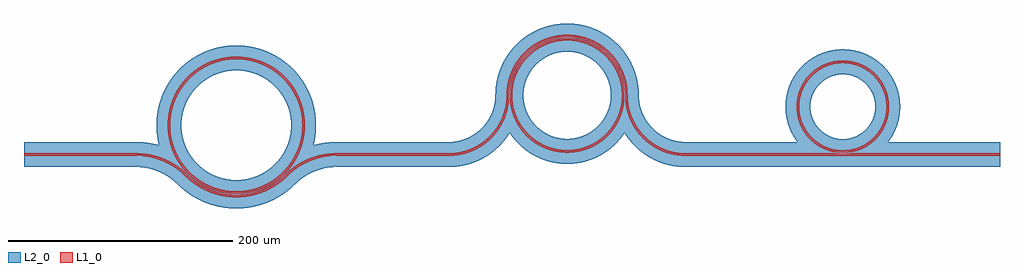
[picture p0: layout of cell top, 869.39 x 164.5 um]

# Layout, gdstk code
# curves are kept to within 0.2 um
import gdstk
lib = gdstk.Library(unit=1e-6, precision=1e-09)
def R(c, l, rs):  # rectangles x0, y0, x1, y1
    for r in rs: c.add(gdstk.rectangle(r[:2], r[2:], *l))
def P(c, l, *ps):  # polygons
    for p in ps: c.add(gdstk.Polygon(p, *l))
L1_0 = (1, 0)
L2_0 = (2, 0)

waveguide__ffb1ae14_adf3 = lib.new_cell('Waveguide--ffb1ae14-adf3-45a0-9c1a-6081403c9a0a')
R(waveguide__ffb1ae14_adf3, L1_0, [(0,-1,50,1), (50,-1,100,1)])
R(waveguide__ffb1ae14_adf3, L2_0, [(0,-11,50,11), (50,-11,100,11)])

waveguide__92be44b0_6598 = lib.new_cell('Waveguide--92be44b0-6598-42c0-a171-421fac037aed')
R(waveguide__92be44b0_6598, L1_0, [(278.191,-1,328.191,1), (328.191,-1,378.191,1)])
R(waveguide__92be44b0_6598, L2_0, [(278.191,-11,328.191,11), (328.191,-11,378.191,11)])

waveguide__667f2150_b90b = lib.new_cell('Waveguide--667f2150-b90b-494c-89df-443687ed66db')
R(waveguide__667f2150_b90b, L1_0, [(589.391,-1,639.391,1), (639.391,-1,689.391,1)])
R(waveguide__667f2150_b90b, L2_0, [(589.391,-11,639.391,11), (639.391,-11,689.391,11)])

waveguide__887e92ec_294e = lib.new_cell('Waveguide--887e92ec-294e-4779-a9ef-47a0b424ca32')
R(waveguide__887e92ec_294e, L1_0, [(769.391,-1,819.391,1), (819.391,-1,869.391,1)])
R(waveguide__887e92ec_294e, L2_0, [(769.391,-11,819.391,11), (819.391,-11,869.391,11)])

ring__7a20a25b_f9a9_407e = lib.new_cell('Ring--7a20a25b-f9a9-407e-a100-e346ca375121')
P(ring__7a20a25b_f9a9_407e, L1_0, [(250.095,26.095),(249.894,31.054),(249.306,35.881),(247.331,35.56),(247.916,30.696),(248.095,26.095)],
  [(249.306,35.881),(248.311,40.743),(246.956,45.412),(245.059,44.779),(246.393,40.168),(247.331,35.56)],
  [(246.956,45.412),(245.274,49.866),(243.108,54.444),(241.337,53.514),(243.355,49.267),(245.059,44.779)],
  [(243.108,54.444),(240.625,58.741),(237.861,62.741),(236.263,61.539),(238.988,57.588),(241.337,53.514)],
  [(237.861,62.741),(234.654,66.66),(231.352,70.089),(229.966,68.646),(233.355,65.11),(236.263,61.539)],
  [(231.352,70.089),(227.714,73.314),(223.747,76.297),(222.611,74.652),(226.448,71.766),(229.966,68.646)],
  [(223.747,76.297),(219.639,78.898),(215.246,81.206),(214.388,79.399),(218.723,77.117),(222.611,74.652)],
  [(215.246,81.206),(210.774,83.113),(206.067,84.687),(205.51,82.766),(209.971,81.279),(214.388,79.399)],
  [(206.067,84.687),(201.347,85.853),(196.448,86.651),(196.207,84.665),(201.041,83.874),(205.51,82.766)],
  [(196.448,86.651),(191.704,87.04),(186.639,87.046),(186.72,85.048),(191.422,85.05),(196.207,84.665)],
  [(186.639,87.046),(181.692,86.645),(176.894,85.863),(177.294,83.903),(182.13,84.683),(186.72,85.048)],
  [(176.894,85.863),(171.978,84.645),(167.465,83.131),(168.174,81.261),(172.728,82.78),(177.294,83.903)],
  [(167.465,83.131),(162.991,81.228),(158.595,78.923),(159.595,77.191),(163.935,79.462),(168.174,81.261)],
  [(158.595,78.923),(154.402,76.269),(150.516,73.346),(151.781,71.797),(155.539,74.624),(159.595,77.191)],
  [(150.516,73.346),(146.803,70.054),(143.436,66.546),(144.933,65.22),(148.189,68.612),(151.781,71.797)],
  [(143.436,66.546),(140.238,62.619),(137.539,58.698),(139.229,57.629),(141.84,61.422),(144.933,65.22)],
  [(137.539,58.698),(135.059,54.399),(132.977,50.005),(134.817,49.221),(136.785,53.384),(139.229,57.629)],
  [(132.977,50.005),(131.315,45.652),(129.868,40.694),(131.81,40.215),(133.147,44.825),(134.817,49.221)],
  [(129.868,40.694),(128.877,35.831),(128.293,31.004),(130.287,30.843),(130.867,35.608),(131.81,40.215)],
  [(128.293,31.004),(128.095,26.146),(128.293,21.187),(130.287,21.348),(130.095,26.046),(130.287,30.843)],
  [(128.293,21.187),(128.877,16.36),(129.868,11.497),(131.81,11.976),(130.867,16.583),(130.287,21.348)],
  [(129.868,11.497),(131.315,6.539),(132.977,2.185),(134.817,2.969),(133.147,7.366),(131.81,11.976)],
  [(132.977,2.185),(135.106,-2.298),(137.539,-6.507),(139.229,-5.438),(136.876,-1.367),(134.817,2.969)],
  [(137.539,-6.507),(140.238,-10.428),(143.436,-14.355),(144.933,-13.029),(141.84,-9.231),(139.229,-5.438)],
  [(143.436,-14.355),(146.803,-17.863),(150.516,-21.155),(151.781,-19.606),(148.189,-16.422),(144.933,-13.029)],
  [(150.516,-21.155),(154.402,-24.078),(158.595,-26.732),(159.595,-25),(155.539,-22.433),(151.781,-19.606)],
  [(158.595,-26.732),(162.991,-29.037),(167.465,-30.941),(168.174,-29.071),(163.935,-27.271),(159.595,-25)],
  [(167.465,-30.941),(171.978,-32.454),(176.894,-33.672),(177.294,-31.712),(172.728,-30.589),(168.174,-29.071)],
  [(176.894,-33.672),(181.692,-34.454),(186.639,-34.855),(186.72,-32.857),(182.13,-32.492),(177.294,-31.712)],
  [(186.639,-34.855),(191.704,-34.849),(196.448,-34.46),(196.207,-32.474),(191.422,-32.859),(186.72,-32.857)],
  [(196.448,-34.46),(201.347,-33.662),(206.067,-32.496),(205.51,-30.575),(201.041,-31.683),(196.207,-32.474)],
  [(206.067,-32.496),(210.774,-30.923),(215.246,-29.015),(214.388,-27.208),(209.971,-29.088),(205.51,-30.575)],
  [(215.246,-29.015),(219.639,-26.707),(223.747,-24.107),(222.611,-22.461),(218.638,-24.976),(214.388,-27.208)],
  [(223.747,-24.107),(227.714,-21.123),(231.352,-17.898),(229.966,-16.455),(226.448,-19.575),(222.611,-22.461)],
  [(231.352,-17.898),(234.654,-14.469),(237.861,-10.55),(236.263,-9.348),(233.355,-12.919),(229.966,-16.455)],
  [(237.861,-10.55),(240.625,-6.55),(243.108,-2.253),(241.337,-1.323),(238.988,-5.397),(236.263,-9.348)],
  [(243.108,-2.253),(245.274,2.325),(246.956,6.779),(245.059,7.412),(243.355,2.924),(241.337,-1.323)],
  [(246.956,6.779),(248.311,11.448),(249.306,16.31),(247.331,16.631),(246.393,12.023),(245.059,7.412)],
  [(249.306,16.31),(249.894,21.137),(250.095,26.095),(248.095,26.095),(247.916,21.494),(247.331,16.631)],
  [(100,1),(108.354,0.452),(108.093,-1.53),(100,-1)],
  [(108.354,0.452),(116.564,-1.181),(116.047,-3.113),(108.093,-1.53)],
  [(116.564,-1.181),(124.492,-3.872),(123.726,-5.719),(116.047,-3.113)],
  [(124.492,-3.872),(132,-7.574),(131,-9.306),(123.726,-5.719)],
  [(132,-7.574),(138.961,-12.225),(137.743,-13.812),(131,-9.306)],
  [(138.961,-12.225),(145.255,-17.745),(143.841,-19.159),(137.743,-13.812)],
  [(143.841,-19.159),(147.184,-22.273),(150.742,-25.139),(151.94,-23.538),(145.255,-17.745)],
  [(150.742,-25.139),(154.494,-27.745),(158.424,-30.076),(159.382,-28.321),(151.94,-23.538)],
  [(158.424,-30.076),(166.73,-33.869),(167.429,-31.995),(159.382,-28.321)],
  [(166.73,-33.869),(175.491,-36.442),(175.916,-34.488),(167.429,-31.995)],
  [(175.491,-36.442),(184.53,-37.741),(184.672,-35.747),(175.916,-34.488)],
  [(184.53,-37.741),(189.095,-37.905),(193.661,-37.741),(193.518,-35.747),(184.672,-35.747)],
  [(193.661,-37.741),(202.7,-36.442),(202.275,-34.488),(193.518,-35.747)],
  [(202.7,-36.442),(211.461,-33.869),(210.762,-31.995),(202.275,-34.488)],
  [(211.461,-33.869),(219.767,-30.076),(218.809,-28.321),(210.762,-31.995)],
  [(219.767,-30.076),(227.449,-25.139),(226.251,-23.538),(218.809,-28.321)],
  [(227.449,-25.139),(231.007,-22.273),(234.35,-19.159),(232.936,-17.745),(226.251,-23.538)],
  [(232.936,-17.745),(239.23,-12.225),(240.448,-13.812),(234.35,-19.159)],
  [(239.23,-12.225),(246.191,-7.574),(247.191,-9.306),(240.448,-13.812)],
  [(246.191,-7.574),(253.699,-3.872),(254.465,-5.719),(247.191,-9.306)],
  [(253.699,-3.872),(261.626,-1.181),(262.144,-3.113),(254.465,-5.719)],
  [(261.626,-1.181),(269.837,0.452),(270.098,-1.53),(262.144,-3.113)],
  [(269.837,0.452),(278.191,1),(278.191,-1),(270.098,-1.53)])
P(ring__7a20a25b_f9a9_407e, L2_0, [(260.095,26.095),(259.404,35.977),(237.619,32.915),(238.095,26.095)],
  [(259.404,35.977),(257.345,45.666),(236.197,39.602),(237.619,32.915)],
  [(257.345,45.666),(253.957,54.974),(233.859,46.026),(236.197,39.602)],
  [(253.957,54.974),(249.307,63.72),(230.65,52.061),(233.859,46.026)],
  [(249.307,63.72),(243.485,71.733),(226.632,57.592),(230.65,52.061)],
  [(243.485,71.733),(236.604,78.859),(221.883,62.51),(226.632,57.592)],
  [(236.604,78.859),(228.798,84.957),(216.496,66.718),(221.883,62.51)],
  [(228.798,84.957),(220.22,89.91),(210.576,70.136),(216.496,66.718)],
  [(220.22,89.91),(211.036,93.62),(204.237,72.697),(210.576,70.136)],
  [(211.036,93.62),(201.424,96.017),(197.604,74.351),(204.237,72.697)],
  [(201.424,96.017),(191.573,97.052),(190.806,75.066),(197.604,74.351)],
  [(191.573,97.052),(181.674,96.707),(183.974,74.827),(190.806,75.066)],
  [(181.674,96.707),(171.919,94.986),(177.241,73.64),(183.974,74.827)],
  [(171.919,94.986),(162.498,91.926),(170.74,71.527),(177.241,73.64)],
  [(162.498,91.926),(153.595,87.583),(164.595,68.531),(170.74,71.527)],
  [(153.595,87.583),(145.383,82.044),(158.928,64.708),(164.595,68.531)],
  [(145.383,82.044),(138.022,75.416),(153.848,60.134),(158.928,64.708)],
  [(138.022,75.416),(131.655,67.828),(149.454,54.897),(153.848,60.134)],
  [(131.655,67.828),(126.406,59.428),(145.831,49.1),(149.454,54.897)],
  [(126.406,59.428),(122.377,50.379),(143.051,42.854),(145.831,49.1)],
  [(122.377,50.379),(119.647,40.857),(141.166,36.283),(143.051,42.854)],
  [(119.647,40.857),(118.268,31.048),(140.215,29.514),(141.166,36.283)],
  [(118.268,31.048),(118.268,21.143),(140.215,22.677),(140.215,29.514)],
  [(118.268,21.143),(119.647,11.334),(141.166,15.908),(140.215,22.677)],
  [(119.647,11.334),(122.377,1.812),(143.051,9.336),(141.166,15.908)],
  [(122.377,1.812),(126.406,-7.237),(145.831,3.091),(143.051,9.336)],
  [(126.406,-7.237),(131.655,-15.637),(149.454,-2.706),(145.831,3.091)],
  [(131.655,-15.637),(138.022,-23.225),(153.848,-7.943),(149.454,-2.706)],
  [(138.022,-23.225),(145.383,-29.853),(158.928,-12.517),(153.848,-7.943)],
  [(145.383,-29.853),(153.595,-35.392),(164.595,-16.34),(158.928,-12.517)],
  [(153.595,-35.392),(162.498,-39.735),(170.74,-19.337),(164.595,-16.34)],
  [(162.498,-39.735),(171.919,-42.796),(177.241,-21.449),(170.74,-19.337)],
  [(171.919,-42.796),(181.674,-44.516),(183.974,-22.636),(177.241,-21.449)],
  [(181.674,-44.516),(191.573,-44.861),(190.806,-22.875),(183.974,-22.636)],
  [(191.573,-44.861),(201.424,-43.826),(197.604,-22.16),(190.806,-22.875)],
  [(201.424,-43.826),(211.036,-41.43),(204.237,-20.506),(197.604,-22.16)],
  [(211.036,-41.43),(220.22,-37.719),(210.576,-17.945),(204.237,-20.506)],
  [(220.22,-37.719),(228.798,-32.766),(216.496,-14.527),(210.576,-17.945)],
  [(228.798,-32.766),(236.604,-26.668),(221.883,-10.319),(216.496,-14.527)],
  [(236.604,-26.668),(243.485,-19.542),(226.632,-5.401),(221.883,-10.319)],
  [(243.485,-19.542),(249.307,-11.529),(230.65,0.129),(226.632,-5.401)],
  [(249.307,-11.529),(253.957,-2.783),(233.859,6.165),(230.65,0.129)],
  [(253.957,-2.783),(257.345,6.525),(236.197,12.589),(233.859,6.165)],
  [(257.345,6.525),(259.404,16.214),(237.619,19.276),(236.197,12.589)],
  [(259.404,16.214),(260.095,26.095),(238.095,26.095),(237.619,19.276)],
  [(100,11),(109.659,10.367),(106.787,-11.445),(100,-11)],
  [(109.659,10.367),(119.153,8.479),(113.459,-12.772),(106.787,-11.445)],
  [(119.153,8.479),(128.319,5.367),(119.9,-14.958),(113.459,-12.772)],
  [(128.319,5.367),(137,1.086),(126,-17.967),(119.9,-14.958)],
  [(137,1.086),(145.048,-4.292),(131.656,-21.746),(126,-17.967)],
  [(145.048,-4.292),(152.326,-10.674),(136.77,-26.23),(131.656,-21.746)],
  [(136.77,-26.23),(144.047,-32.613),(157.44,-15.159),(152.326,-10.674)],
  [(144.047,-32.613),(152.095,-37.99),(163.095,-18.938),(157.44,-15.159)],
  [(152.095,-37.99),(160.777,-42.272),(169.196,-21.946),(163.095,-18.938)],
  [(160.777,-42.272),(169.943,-45.383),(175.637,-24.133),(169.196,-21.946)],
  [(169.943,-45.383),(179.437,-47.271),(182.308,-25.46),(175.637,-24.133)],
  [(179.437,-47.271),(189.095,-47.905),(189.095,-25.905),(182.308,-25.46)],
  [(189.095,-47.905),(198.754,-47.271),(195.883,-25.46),(189.095,-25.905)],
  [(198.754,-47.271),(208.248,-45.383),(202.554,-24.133),(195.883,-25.46)],
  [(208.248,-45.383),(217.414,-42.272),(208.995,-21.946),(202.554,-24.133)],
  [(217.414,-42.272),(226.095,-37.99),(215.095,-18.938),(208.995,-21.946)],
  [(226.095,-37.99),(234.144,-32.613),(220.751,-15.159),(215.095,-18.938)],
  [(234.144,-32.613),(241.421,-26.23),(225.865,-10.674),(220.751,-15.159)],
  [(225.865,-10.674),(233.143,-4.292),(246.535,-21.746),(241.421,-26.23)],
  [(233.143,-4.292),(241.191,1.086),(252.191,-17.967),(246.535,-21.746)],
  [(241.191,1.086),(249.872,5.367),(258.291,-14.958),(252.191,-17.967)],
  [(249.872,5.367),(259.038,8.479),(264.732,-12.772),(258.291,-14.958)],
  [(259.038,8.479),(268.532,10.367),(271.404,-11.445),(264.732,-12.772)],
  [(268.532,10.367),(278.191,11),(278.191,-11),(271.404,-11.445)])

ring__168632ff_3669_4a3b = lib.new_cell('Ring--168632ff-3669-4a3b-ae4e-cbf94d9754d2')
P(ring__168632ff_3669_4a3b, L1_0, [(534.791,52.8),(534.56,57.648),(533.869,62.452),(531.905,62.073),(532.56,57.554),(532.791,52.8)],
  [(533.869,62.452),(532.782,66.974),(531.138,71.755),(529.281,71.011),(530.779,66.698),(531.905,62.073)],
  [(531.138,71.755),(529.122,76.17),(526.695,80.373),(525.012,79.291),(527.344,75.253),(529.281,71.011)],
  [(526.695,80.373),(523.88,84.326),(520.701,87.994),(519.254,86.614),(522.308,83.09),(525.012,79.291)],
  [(520.701,87.994),(517.189,91.343),(513.374,94.343),(512.214,92.714),(515.879,89.832),(519.254,86.614)],
  [(513.374,94.343),(509.378,96.917),(504.977,99.191),(504.146,97.372),(508.207,95.284),(512.214,92.714)],
  [(504.977,99.191),(500.567,100.962),(495.815,102.362),(495.343,100.419),(499.725,99.137),(504.146,97.372)],
  [(495.815,102.362),(491.049,103.281),(486.218,103.742),(486.122,101.744),(490.572,101.329),(495.343,100.419)],
  [(486.218,103.742),(481.465,103.747),(476.533,103.281),(476.817,101.301),(481.362,101.74),(486.122,101.744)],
  [(476.533,103.281),(471.964,102.41),(467.11,100.995),(467.765,99.105),(472.333,100.442),(476.817,101.301)],
  [(467.11,100.995),(462.421,99.107),(458.291,96.967),(459.291,95.235),(463.347,97.332),(467.765,99.105)],
  [(458.291,96.967),(454.29,94.402),(450.393,91.343),(451.703,89.832),(455.447,92.771),(459.291,95.235)],
  [(450.393,91.343),(446.88,87.994),(443.702,84.326),(445.274,83.09),(448.328,86.614),(451.703,89.832)],
  [(443.702,84.326),(440.832,80.288),(438.46,76.17),(440.238,75.253),(442.569,79.291),(445.274,83.09)],
  [(438.46,76.17),(436.444,71.755),(434.857,67.168),(436.776,66.605),(438.373,71.192),(440.238,75.253)],
  [(434.857,67.168),(433.751,62.65),(433.022,57.648),(435.013,57.458),(435.676,62.073),(436.776,66.605)],
  [(433.022,57.648),(432.791,53.002),(433.022,47.952),(435.013,48.142),(434.791,52.606),(435.013,57.458)],
  [(433.022,47.952),(433.751,42.95),(434.857,38.432),(436.776,38.995),(435.676,43.527),(435.013,48.142)],
  [(434.857,38.432),(436.444,33.845),(438.46,29.43),(440.238,30.347),(438.373,34.408),(436.776,38.995)],
  [(438.46,29.43),(440.832,25.312),(443.702,21.274),(445.274,22.51),(442.569,26.309),(440.238,30.347)],
  [(443.702,21.274),(446.88,17.606),(450.393,14.257),(451.703,15.768),(448.328,18.986),(445.274,22.51)],
  [(450.393,14.257),(454.29,11.198),(458.291,8.633),(459.291,10.365),(455.447,12.829),(451.703,15.768)],
  [(458.291,8.633),(462.421,6.493),(467.11,4.605),(467.765,6.495),(463.347,8.268),(459.291,10.365)],
  [(467.11,4.605),(471.964,3.19),(476.533,2.319),(476.817,4.299),(472.333,5.158),(467.765,6.495)],
  [(476.533,2.319),(481.465,1.853),(486.218,1.858),(486.122,3.856),(481.362,3.86),(476.817,4.299)],
  [(486.218,1.858),(491.049,2.319),(495.815,3.238),(495.343,5.181),(490.572,4.271),(486.122,3.856)],
  [(495.815,3.238),(500.567,4.638),(504.977,6.409),(504.146,8.228),(499.725,6.463),(495.343,5.181)],
  [(504.977,6.409),(509.378,8.683),(513.374,11.257),(512.214,12.886),(508.207,10.316),(504.146,8.228)],
  [(513.374,11.257),(517.189,14.257),(520.701,17.606),(519.254,18.986),(515.879,15.768),(512.214,12.886)],
  [(520.701,17.606),(523.88,21.274),(526.695,25.227),(525.012,26.309),(522.308,22.51),(519.254,18.986)],
  [(526.695,25.227),(529.122,29.43),(531.138,33.845),(529.281,34.589),(527.344,30.347),(525.012,26.309)],
  [(531.138,33.845),(532.782,38.626),(533.869,43.148),(531.905,43.527),(530.779,38.902),(529.281,34.589)],
  [(533.869,43.148),(534.56,47.952),(534.791,52.8),(532.791,52.8),(532.56,48.046),(531.905,43.527)],
  [(378.191,-1),(382.83,-0.8),(387.533,-0.183),(387.186,1.787),(382.754,1.201),(378.191,1)],
  [(387.533,-0.183),(392.067,0.82),(396.592,2.245),(395.908,4.124),(391.551,2.752),(387.186,1.787)],
  [(396.592,2.245),(400.882,4.019),(405.091,6.208),(404.091,7.94),(400.303,5.956),(395.908,4.124)],
  [(405.091,6.208),(409.091,8.759),(412.773,11.587),(411.487,13.119),(407.783,10.284),(404.091,7.94)],
  [(412.773,11.587),(416.198,14.722),(419.404,18.218),(417.872,19.504),(414.922,16.275),(411.487,13.119)],
  [(419.404,18.218),(422.232,21.9),(424.783,25.9),(423.051,26.9),(420.539,22.969),(417.872,19.504)],
  [(424.783,25.9),(426.972,30.109),(428.746,34.399),(426.867,35.083),(425.076,30.776),(423.051,26.9)],
  [(428.746,34.399),(430.171,38.924),(431.174,43.458),(429.204,43.805),(428.188,39.252),(426.867,35.083)],
  [(431.174,43.458),(431.791,48.161),(431.991,52.8),(429.991,52.8),(429.79,48.237),(429.204,43.805)],
  [(429.991,52.8),(430.22,57.764),(430.907,62.686),(432.873,62.318),(432.212,57.58),(431.991,52.8)],
  [(430.907,62.686),(432.017,67.425),(433.624,72.235),(435.489,71.512),(433.968,66.976),(432.873,62.318)],
  [(433.624,72.235),(435.631,76.781),(438.049,81.122),(439.75,80.069),(437.421,75.889),(435.489,71.512)],
  [(438.049,81.122),(440.919,85.303),(444.032,89.045),(445.51,87.697),(442.336,83.86),(439.75,80.069)],
  [(444.032,89.045),(447.546,92.559),(451.369,95.733),(452.574,94.137),(448.893,91.081),(445.51,87.697)],
  [(451.369,95.733),(455.469,98.542),(459.81,100.96),(460.702,99.169),(456.605,96.893),(452.574,94.137)],
  [(459.81,100.96),(464.451,103.004),(469.068,104.546),(469.615,102.623),(464.988,101.067),(460.702,99.169)],
  [(469.068,104.546),(474.005,105.703),(478.827,106.37),(479.011,104.379),(474.465,103.754),(469.615,102.623)],
  [(478.827,106.37),(483.588,106.6),(488.755,106.37),(488.57,104.379),(483.986,104.6),(479.011,104.379)],
  [(488.755,106.37),(493.577,105.703),(498.514,104.546),(497.967,102.623),(493.117,103.754),(488.57,104.379)],
  [(498.514,104.546),(503.131,103.004),(507.772,100.96),(506.88,99.169),(502.594,101.067),(497.967,102.623)],
  [(507.772,100.96),(512.113,98.542),(516.213,95.733),(515.007,94.137),(510.977,96.893),(506.88,99.169)],
  [(516.213,95.733),(520.036,92.559),(523.55,89.045),(522.072,87.697),(518.688,91.081),(515.007,94.137)],
  [(523.55,89.045),(526.663,85.303),(529.533,81.122),(527.832,80.069),(525.246,83.86),(522.072,87.697)],
  [(529.533,81.122),(531.951,76.781),(533.958,72.235),(532.093,71.512),(530.117,75.977),(527.832,80.069)],
  [(533.958,72.235),(535.565,67.425),(536.675,62.686),(534.709,62.318),(533.587,67.07),(532.093,71.512)],
  [(536.675,62.686),(537.371,57.663),(537.591,52.8),(535.591,52.8),(535.37,57.58),(534.709,62.318)],
  [(535.591,52.8),(535.791,48.161),(536.408,43.458),(538.378,43.805),(537.792,48.237),(537.591,52.8)],
  [(536.408,43.458),(537.411,38.924),(538.835,34.399),(540.715,35.083),(539.343,39.44),(538.378,43.805)],
  [(538.835,34.399),(540.61,30.109),(542.799,25.9),(544.531,26.9),(542.547,30.688),(540.715,35.083)],
  [(542.799,25.9),(545.35,21.9),(548.178,18.218),(549.71,19.504),(546.875,23.208),(544.531,26.9)],
  [(548.178,18.218),(551.313,14.793),(554.809,11.587),(556.095,13.119),(552.728,16.206),(549.71,19.504)],
  [(554.809,11.587),(558.491,8.759),(562.491,6.208),(563.491,7.94),(559.719,10.34),(556.095,13.119)],
  [(562.491,6.208),(566.7,4.019),(570.99,2.245),(571.674,4.124),(567.279,5.956),(563.491,7.94)],
  [(570.99,2.245),(575.515,0.82),(580.049,-0.183),(580.396,1.787),(576.031,2.752),(571.674,4.124)],
  [(580.049,-0.183),(584.752,-0.8),(589.391,-1),(589.391,1),(584.828,1.201),(580.396,1.787)])
P(ring__168632ff_3669_4a3b, L2_0, [(544.791,52.8),(544.001,62.585),(522.286,59.056),(522.791,52.8)],
  [(544.001,62.585),(541.652,72.117),(520.784,65.15),(522.286,59.056)],
  [(541.652,72.117),(537.804,81.148),(518.324,70.924),(520.784,65.15)],
  [(537.804,81.148),(532.557,89.445),(514.969,76.229),(518.324,70.924)],
  [(532.557,89.445),(526.047,96.793),(510.807,80.927),(514.969,76.229)],
  [(526.047,96.793),(518.443,103.002),(505.945,84.896),(510.807,80.927)],
  [(518.443,103.002),(509.941,107.91),(500.51,88.035),(505.945,84.896)],
  [(509.941,107.91),(500.762,111.392),(494.641,90.26),(500.51,88.035)],
  [(500.762,111.392),(491.144,113.355),(488.492,91.516),(494.641,90.26)],
  [(491.144,113.355),(481.335,113.751),(482.221,91.768),(488.492,91.516)],
  [(481.335,113.751),(471.589,112.567),(475.99,91.012),(482.221,91.768)],
  [(471.589,112.567),(462.16,109.836),(469.961,89.266),(475.99,91.012)],
  [(462.16,109.836),(453.291,105.628),(464.291,86.575),(469.961,89.266)],
  [(453.291,105.628),(445.212,100.051),(459.126,83.01),(464.291,86.575)],
  [(445.212,100.051),(438.132,93.25),(454.599,78.662),(459.126,83.01)],
  [(438.132,93.25),(432.234,85.402),(450.828,73.644),(454.599,78.662)],
  [(432.234,85.402),(427.672,76.71),(447.912,68.087),(450.828,73.644)],
  [(427.672,76.71),(424.563,67.398),(445.924,62.133),(447.912,68.087)],
  [(424.563,67.398),(422.989,57.708),(444.917,55.938),(445.924,62.133)],
  [(422.989,57.708),(422.989,47.892),(444.917,49.662),(444.917,55.938)],
  [(422.989,47.892),(424.563,38.202),(445.924,43.467),(444.917,49.662)],
  [(424.563,38.202),(427.672,28.89),(447.912,37.513),(445.924,43.467)],
  [(427.672,28.89),(432.234,20.198),(450.828,31.956),(447.912,37.513)],
  [(432.234,20.198),(438.132,12.35),(454.599,26.938),(450.828,31.956)],
  [(438.132,12.35),(445.212,5.549),(459.126,22.59),(454.599,26.938)],
  [(445.212,5.549),(453.291,-0.028),(464.291,19.025),(459.126,22.59)],
  [(453.291,-0.028),(462.16,-4.236),(469.961,16.334),(464.291,19.025)],
  [(462.16,-4.236),(471.589,-6.967),(475.99,14.588),(469.961,16.334)],
  [(471.589,-6.967),(481.335,-8.151),(482.221,13.832),(475.99,14.588)],
  [(481.335,-8.151),(491.144,-7.755),(488.492,14.084),(482.221,13.832)],
  [(491.144,-7.755),(500.762,-5.792),(494.641,15.34),(488.492,14.084)],
  [(500.762,-5.792),(509.941,-2.31),(500.51,17.565),(494.641,15.34)],
  [(509.941,-2.31),(518.443,2.598),(505.945,20.704),(500.51,17.565)],
  [(518.443,2.598),(526.047,8.807),(510.807,24.673),(505.945,20.704)],
  [(526.047,8.807),(532.557,16.155),(514.969,29.371),(510.807,24.673)],
  [(532.557,16.155),(537.804,24.452),(518.324,34.676),(514.969,29.371)],
  [(537.804,24.452),(541.652,33.483),(520.784,40.45),(518.324,34.676)],
  [(541.652,33.483),(544.001,43.015),(522.286,46.544),(520.784,40.45)],
  [(544.001,43.015),(544.791,52.8),(522.791,52.8),(522.286,46.544)],
  [(378.191,-11),(387.271,-10.351),(384.14,11.425),(378.191,11)],
  [(387.271,-10.351),(396.165,-8.416),(389.967,12.693),(384.14,11.425)],
  [(396.165,-8.416),(404.694,-5.235),(395.555,14.777),(389.967,12.693)],
  [(404.694,-5.235),(412.684,-0.872),(400.79,17.636),(395.555,14.777)],
  [(412.684,-0.872),(419.971,4.583),(405.564,21.21),(400.79,17.636)],
  [(419.971,4.583),(426.408,11.02),(409.781,25.427),(405.564,21.21)],
  [(426.408,11.02),(431.863,18.307),(413.355,30.201),(409.781,25.427)],
  [(431.863,18.307),(436.225,26.297),(416.214,35.436),(413.355,30.201)],
  [(436.225,26.297),(439.407,34.825),(418.298,41.024),(416.214,35.436)],
  [(439.407,34.825),(441.342,43.72),(419.565,46.851),(418.298,41.024)],
  [(441.342,43.72),(441.991,52.8),(419.991,52.8),(419.565,46.851)],
  [(419.991,52.8),(420.704,62.309),(442.458,59.03),(441.991,52.8)],
  [(420.704,62.309),(422.825,71.605),(443.848,65.121),(442.458,59.03)],
  [(422.825,71.605),(426.309,80.482),(446.13,70.936),(443.848,65.121)],
  [(426.309,80.482),(431.077,88.74),(449.254,76.347),(446.13,70.936)],
  [(431.077,88.74),(437.022,96.195),(453.149,81.231),(449.254,76.347)],
  [(437.022,96.195),(444.012,102.681),(457.729,85.481),(453.149,81.231)],
  [(444.012,102.681),(451.891,108.052),(462.891,89),(457.729,85.481)],
  [(451.891,108.052),(460.482,112.19),(468.52,91.711),(462.891,89)],
  [(460.482,112.19),(469.594,115),(474.49,93.552),(468.52,91.711)],
  [(469.594,115),(479.023,116.422),(480.667,94.483),(474.49,93.552)],
  [(479.023,116.422),(488.559,116.422),(486.915,94.483),(480.667,94.483)],
  [(488.559,116.422),(497.988,115),(493.092,93.552),(486.915,94.483)],
  [(497.988,115),(507.1,112.19),(499.062,91.711),(493.092,93.552)],
  [(507.1,112.19),(515.691,108.052),(504.691,89),(499.062,91.711)],
  [(515.691,108.052),(523.57,102.681),(509.853,85.481),(504.691,89)],
  [(523.57,102.681),(530.56,96.195),(514.432,81.231),(509.853,85.481)],
  [(530.56,96.195),(536.505,88.74),(518.328,76.347),(514.432,81.231)],
  [(536.505,88.74),(541.273,80.482),(521.451,70.936),(518.328,76.347)],
  [(541.273,80.482),(544.756,71.605),(523.734,65.121),(521.451,70.936)],
  [(544.756,71.605),(546.878,62.309),(525.124,59.03),(523.734,65.121)],
  [(546.878,62.309),(547.591,52.8),(525.591,52.8),(525.124,59.03)],
  [(525.591,52.8),(526.24,43.72),(548.016,46.851),(547.591,52.8)],
  [(526.24,43.72),(528.175,34.825),(549.284,41.024),(548.016,46.851)],
  [(528.175,34.825),(531.356,26.297),(551.368,35.436),(549.284,41.024)],
  [(531.356,26.297),(535.719,18.307),(554.227,30.201),(551.368,35.436)],
  [(535.719,18.307),(541.174,11.02),(557.801,25.427),(554.227,30.201)],
  [(541.174,11.02),(547.611,4.583),(562.018,21.21),(557.801,25.427)],
  [(547.611,4.583),(554.898,-0.872),(566.792,17.636),(562.018,21.21)],
  [(554.898,-0.872),(562.887,-5.235),(572.027,14.777),(566.792,17.636)],
  [(562.887,-5.235),(571.416,-8.416),(577.614,12.693),(572.027,14.777)],
  [(571.416,-8.416),(580.311,-10.351),(583.442,11.425),(577.614,12.693)],
  [(580.311,-10.351),(589.391,-11),(589.391,11),(583.442,11.425)])

ring__0e40840a_4b01_483c = lib.new_cell('Ring--0e40840a-4b01-483c-b760-cf09a47bf51a')
R(ring__0e40840a_4b01_483c, L1_0, [(689.391,-1,769.391,1)])
P(ring__0e40840a_4b01_483c, L1_0, [(770.391,42.6),(770.08,47.642),(769.2,52.412),(767.258,51.933),(768.107,47.301),(768.391,42.6)],
  [(769.2,52.412),(767.727,57.139),(765.695,61.654),(763.924,60.724),(765.857,56.43),(767.258,51.933)],
  [(765.695,61.654),(763.076,65.974),(760.08,69.788),(758.583,68.462),(761.433,64.834),(763.924,60.724)],
  [(760.08,69.788),(756.655,73.222),(752.682,76.342),(751.545,74.696),(755.181,71.856),(758.583,68.462)],
  [(752.682,76.342),(748.445,78.904),(743.93,80.936),(743.22,79.066),(747.515,77.133),(751.545,74.696)],
  [(743.93,80.936),(739.203,82.409),(734.333,83.301),(734.092,81.316),(738.818,80.444),(743.22,79.066)],
  [(734.333,83.301),(729.593,83.6),(724.449,83.301),(724.69,81.316),(729.199,81.6),(734.092,81.316)],
  [(724.449,83.301),(719.579,82.409),(714.852,80.936),(715.561,79.066),(719.964,80.444),(724.69,81.316)],
  [(714.852,80.936),(710.337,78.904),(706.1,76.342),(707.236,74.696),(711.267,77.133),(715.561,79.066)],
  [(706.1,76.342),(702.127,73.222),(698.702,69.788),(700.199,68.462),(703.601,71.856),(707.236,74.696)],
  [(698.702,69.788),(695.706,65.974),(693.087,61.654),(694.858,60.724),(697.349,64.834),(700.199,68.462)],
  [(693.087,61.654),(691.055,57.139),(689.582,52.412),(691.524,51.933),(692.925,56.43),(694.858,60.724)],
  [(689.582,52.412),(688.702,47.642),(688.391,42.6),(690.391,42.6),(690.675,47.301),(691.524,51.933)],
  [(688.391,42.6),(688.702,37.558),(689.582,32.788),(691.524,33.267),(690.675,37.899),(690.391,42.6)],
  [(689.582,32.788),(691.055,28.061),(693.087,23.546),(694.858,24.476),(692.925,28.77),(691.524,33.267)],
  [(693.087,23.546),(695.706,19.226),(698.702,15.412),(700.199,16.738),(697.349,20.366),(694.858,24.476)],
  [(698.702,15.412),(702.127,11.978),(706.1,8.858),(707.236,10.504),(703.601,13.344),(700.199,16.738)],
  [(706.1,8.858),(710.337,6.296),(714.852,4.264),(715.561,6.134),(711.267,8.067),(707.236,10.504)],
  [(714.852,4.264),(719.579,2.791),(724.449,1.899),(724.69,3.884),(719.964,4.756),(715.561,6.134)],
  [(724.449,1.899),(729.189,1.6),(734.333,1.899),(734.092,3.884),(729.583,3.6),(724.69,3.884)],
  [(734.333,1.899),(739.203,2.791),(743.93,4.264),(743.22,6.134),(738.818,4.756),(734.092,3.884)],
  [(743.93,4.264),(748.445,6.296),(752.682,8.858),(751.545,10.504),(747.515,8.067),(743.22,6.134)],
  [(752.682,8.858),(756.655,11.978),(760.08,15.412),(758.583,16.738),(755.181,13.344),(751.545,10.504)],
  [(760.08,15.412),(763.076,19.226),(765.695,23.546),(763.924,24.476),(761.433,20.366),(758.583,16.738)],
  [(765.695,23.546),(767.727,28.061),(769.2,32.788),(767.258,33.267),(765.857,28.77),(763.924,24.476)],
  [(769.2,32.788),(770.08,37.558),(770.391,42.6),(768.391,42.6),(768.107,37.899),(767.258,33.267)])
R(ring__0e40840a_4b01_483c, L2_0, [(689.391,-11,769.391,11)])
P(ring__0e40840a_4b01_483c, L2_0, [(780.391,42.6),(780.16,47.448),(779.469,52.252),(757.867,48.088),(758.391,42.6)],
  [(779.469,52.252),(778.382,56.774),(776.738,61.555),(756.314,53.378),(757.867,48.088)],
  [(776.738,61.555),(774.722,65.97),(772.295,70.173),(753.787,58.279),(756.314,53.378)],
  [(772.295,70.173),(769.48,74.126),(766.301,77.794),(750.379,62.612),(753.787,58.279)],
  [(766.301,77.794),(762.789,81.143),(758.974,84.143),(746.213,66.223),(750.379,62.612)],
  [(758.974,84.143),(754.978,86.717),(750.577,88.991),(741.438,68.979),(746.213,66.223)],
  [(750.577,88.991),(746.167,90.762),(741.415,92.162),(736.228,70.783),(741.438,68.979)],
  [(741.415,92.162),(736.649,93.081),(731.818,93.542),(730.771,71.567),(736.228,70.783)],
  [(731.818,93.542),(727.065,93.547),(722.133,93.081),(725.264,71.305),(730.771,71.567)],
  [(722.133,93.081),(717.564,92.21),(712.71,90.795),(719.906,70.005),(725.264,71.305)],
  [(712.71,90.795),(708.021,88.907),(703.891,86.767),(714.891,67.715),(719.906,70.005)],
  [(703.891,86.767),(699.89,84.202),(695.993,81.143),(710.4,64.517),(714.891,67.715)],
  [(695.993,81.143),(692.48,77.794),(689.302,74.126),(706.595,60.527),(710.4,64.517)],
  [(689.302,74.126),(686.432,70.088),(684.06,65.97),(703.615,55.889),(706.595,60.527)],
  [(684.06,65.97),(682.044,61.555),(680.457,56.968),(701.566,50.77),(703.615,55.889)],
  [(680.457,56.968),(679.351,52.45),(678.622,47.448),(700.522,45.357),(701.566,50.77)],
  [(678.622,47.448),(678.391,42.802),(678.622,37.752),(700.522,39.843),(700.522,45.357)],
  [(678.622,37.752),(679.351,32.75),(680.457,28.232),(701.566,34.43),(700.522,39.843)],
  [(680.457,28.232),(682.044,23.645),(684.06,19.23),(703.615,29.311),(701.566,34.43)],
  [(684.06,19.23),(686.432,15.112),(689.302,11.074),(706.595,24.673),(703.615,29.311)],
  [(689.302,11.074),(692.48,7.406),(695.993,4.057),(710.4,20.683),(706.595,24.673)],
  [(695.993,4.057),(699.89,0.998),(703.891,-1.567),(714.891,17.485),(710.4,20.683)],
  [(703.891,-1.567),(708.021,-3.707),(712.71,-5.595),(719.906,15.195),(714.891,17.485)],
  [(712.71,-5.595),(717.564,-7.01),(722.133,-7.881),(725.264,13.895),(719.906,15.195)],
  [(722.133,-7.881),(727.065,-8.347),(731.818,-8.342),(730.771,13.633),(725.264,13.895)],
  [(731.818,-8.342),(736.649,-7.881),(741.415,-6.962),(736.228,14.417),(730.771,13.633)],
  [(741.415,-6.962),(746.167,-5.562),(750.577,-3.791),(741.438,16.221),(736.228,14.417)],
  [(750.577,-3.791),(754.978,-1.517),(758.974,1.057),(746.213,18.977),(741.438,16.221)],
  [(758.974,1.057),(762.789,4.057),(766.301,7.406),(750.379,22.588),(746.213,18.977)],
  [(766.301,7.406),(769.48,11.074),(772.295,15.027),(753.787,26.921),(750.379,22.588)],
  [(772.295,15.027),(774.722,19.23),(776.738,23.645),(756.314,31.822),(753.787,26.921)],
  [(776.738,23.645),(778.382,28.426),(779.469,32.948),(757.867,37.112),(756.314,31.822)],
  [(779.469,32.948),(780.16,37.752),(780.391,42.6),(758.391,42.6),(757.867,37.112)])

top = lib.new_cell('top')
top.add(gdstk.Reference(waveguide__ffb1ae14_adf3, (0,0)))
top.add(gdstk.Reference(waveguide__92be44b0_6598, (0,0)))
top.add(gdstk.Reference(waveguide__667f2150_b90b, (0,0)))
top.add(gdstk.Reference(waveguide__887e92ec_294e, (0,0)))
top.add(gdstk.Reference(ring__7a20a25b_f9a9_407e, (0,0)))
top.add(gdstk.Reference(ring__168632ff_3669_4a3b, (0,0)))
top.add(gdstk.Reference(ring__0e40840a_4b01_483c, (0,0)))

lib.write_gds('top.gds')
